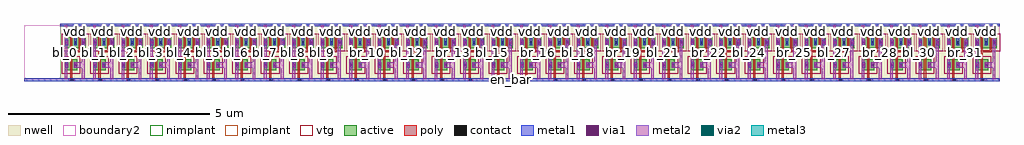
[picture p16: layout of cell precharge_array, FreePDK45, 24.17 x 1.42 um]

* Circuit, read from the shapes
.subckt precharge_array bl_0 bl_1 bl_10 bl_11 bl_12 bl_13 bl_14 bl_15 bl_16 bl_17 bl_18 bl_19 bl_2 bl_20 bl_21 bl_22 bl_23 bl_24 bl_25 bl_26 bl_27 bl_28 bl_29 bl_3 bl_30 bl_31 bl_32 bl_4 bl_5 bl_6 bl_7 bl_8 bl_9 br_0 br_1 br_10 br_11 br_12 br_13 br_14 br_15 br_16 br_17 br_18 br_19 br_2 br_20 br_21 br_22 br_23 br_24 br_25 br_26 br_27 br_28 br_29 br_3 br_30 br_31 br_32 br_4 br_5 br_6 br_7 br_8 br_9 en_bar vdd
M1 br_0 en_bar bl_0 vdd pfet w=0.27u l=0.05u
M2 vdd en_bar bl_0 vdd pfet w=0.27u l=0.05u
M3 br_0 en_bar vdd vdd pfet w=0.27u l=0.05u
M4 br_1 en_bar bl_1 vdd pfet w=0.27u l=0.05u
M5 vdd en_bar bl_1 vdd pfet w=0.27u l=0.05u
M6 br_1 en_bar vdd vdd pfet w=0.27u l=0.05u
M7 br_2 en_bar bl_2 vdd pfet w=0.27u l=0.05u
M8 vdd en_bar bl_2 vdd pfet w=0.27u l=0.05u
M9 br_2 en_bar vdd vdd pfet w=0.27u l=0.05u
M10 br_3 en_bar bl_3 vdd pfet w=0.27u l=0.05u
M11 vdd en_bar bl_3 vdd pfet w=0.27u l=0.05u
M12 br_3 en_bar vdd vdd pfet w=0.27u l=0.05u
M13 br_4 en_bar bl_4 vdd pfet w=0.27u l=0.05u
M14 vdd en_bar bl_4 vdd pfet w=0.27u l=0.05u
M15 br_4 en_bar vdd vdd pfet w=0.27u l=0.05u
M16 br_5 en_bar bl_5 vdd pfet w=0.27u l=0.05u
M17 vdd en_bar bl_5 vdd pfet w=0.27u l=0.05u
M18 br_5 en_bar vdd vdd pfet w=0.27u l=0.05u
M19 br_6 en_bar bl_6 vdd pfet w=0.27u l=0.05u
M20 vdd en_bar bl_6 vdd pfet w=0.27u l=0.05u
M21 br_6 en_bar vdd vdd pfet w=0.27u l=0.05u
M22 br_7 en_bar bl_7 vdd pfet w=0.27u l=0.05u
M23 vdd en_bar bl_7 vdd pfet w=0.27u l=0.05u
M24 br_7 en_bar vdd vdd pfet w=0.27u l=0.05u
M25 br_8 en_bar bl_8 vdd pfet w=0.27u l=0.05u
M26 vdd en_bar bl_8 vdd pfet w=0.27u l=0.05u
M27 br_8 en_bar vdd vdd pfet w=0.27u l=0.05u
M28 br_9 en_bar bl_9 vdd pfet w=0.27u l=0.05u
M29 vdd en_bar bl_9 vdd pfet w=0.27u l=0.05u
M30 br_9 en_bar vdd vdd pfet w=0.27u l=0.05u
M31 br_10 en_bar bl_10 vdd pfet w=0.27u l=0.05u
M32 vdd en_bar bl_10 vdd pfet w=0.27u l=0.05u
M33 br_10 en_bar vdd vdd pfet w=0.27u l=0.05u
M34 br_11 en_bar bl_11 vdd pfet w=0.27u l=0.05u
M35 vdd en_bar bl_11 vdd pfet w=0.27u l=0.05u
M36 br_11 en_bar vdd vdd pfet w=0.27u l=0.05u
M37 br_12 en_bar bl_12 vdd pfet w=0.27u l=0.05u
M38 vdd en_bar bl_12 vdd pfet w=0.27u l=0.05u
M39 br_12 en_bar vdd vdd pfet w=0.27u l=0.05u
M40 br_13 en_bar bl_13 vdd pfet w=0.27u l=0.05u
M41 vdd en_bar bl_13 vdd pfet w=0.27u l=0.05u
M42 br_13 en_bar vdd vdd pfet w=0.27u l=0.05u
M43 br_14 en_bar bl_14 vdd pfet w=0.27u l=0.05u
M44 vdd en_bar bl_14 vdd pfet w=0.27u l=0.05u
M45 br_14 en_bar vdd vdd pfet w=0.27u l=0.05u
M46 br_15 en_bar bl_15 vdd pfet w=0.27u l=0.05u
M47 vdd en_bar bl_15 vdd pfet w=0.27u l=0.05u
M48 br_15 en_bar vdd vdd pfet w=0.27u l=0.05u
M49 br_16 en_bar bl_16 vdd pfet w=0.27u l=0.05u
M50 vdd en_bar bl_16 vdd pfet w=0.27u l=0.05u
M51 br_16 en_bar vdd vdd pfet w=0.27u l=0.05u
M52 br_17 en_bar bl_17 vdd pfet w=0.27u l=0.05u
M53 vdd en_bar bl_17 vdd pfet w=0.27u l=0.05u
M54 br_17 en_bar vdd vdd pfet w=0.27u l=0.05u
M55 br_18 en_bar bl_18 vdd pfet w=0.27u l=0.05u
M56 vdd en_bar bl_18 vdd pfet w=0.27u l=0.05u
M57 br_18 en_bar vdd vdd pfet w=0.27u l=0.05u
M58 br_19 en_bar bl_19 vdd pfet w=0.27u l=0.05u
M59 vdd en_bar bl_19 vdd pfet w=0.27u l=0.05u
M60 br_19 en_bar vdd vdd pfet w=0.27u l=0.05u
M61 br_20 en_bar bl_20 vdd pfet w=0.27u l=0.05u
M62 vdd en_bar bl_20 vdd pfet w=0.27u l=0.05u
M63 br_20 en_bar vdd vdd pfet w=0.27u l=0.05u
M64 br_21 en_bar bl_21 vdd pfet w=0.27u l=0.05u
M65 vdd en_bar bl_21 vdd pfet w=0.27u l=0.05u
M66 br_21 en_bar vdd vdd pfet w=0.27u l=0.05u
M67 br_22 en_bar bl_22 vdd pfet w=0.27u l=0.05u
M68 vdd en_bar bl_22 vdd pfet w=0.27u l=0.05u
M69 br_22 en_bar vdd vdd pfet w=0.27u l=0.05u
M70 br_23 en_bar bl_23 vdd pfet w=0.27u l=0.05u
M71 vdd en_bar bl_23 vdd pfet w=0.27u l=0.05u
M72 br_23 en_bar vdd vdd pfet w=0.27u l=0.05u
M73 br_24 en_bar bl_24 vdd pfet w=0.27u l=0.05u
M74 vdd en_bar bl_24 vdd pfet w=0.27u l=0.05u
M75 br_24 en_bar vdd vdd pfet w=0.27u l=0.05u
M76 br_25 en_bar bl_25 vdd pfet w=0.27u l=0.05u
M77 vdd en_bar bl_25 vdd pfet w=0.27u l=0.05u
M78 br_25 en_bar vdd vdd pfet w=0.27u l=0.05u
M79 br_26 en_bar bl_26 vdd pfet w=0.27u l=0.05u
M80 vdd en_bar bl_26 vdd pfet w=0.27u l=0.05u
M81 br_26 en_bar vdd vdd pfet w=0.27u l=0.05u
M82 br_27 en_bar bl_27 vdd pfet w=0.27u l=0.05u
M83 vdd en_bar bl_27 vdd pfet w=0.27u l=0.05u
M84 br_27 en_bar vdd vdd pfet w=0.27u l=0.05u
M85 br_28 en_bar bl_28 vdd pfet w=0.27u l=0.05u
M86 vdd en_bar bl_28 vdd pfet w=0.27u l=0.05u
M87 br_28 en_bar vdd vdd pfet w=0.27u l=0.05u
M88 br_29 en_bar bl_29 vdd pfet w=0.27u l=0.05u
M89 vdd en_bar bl_29 vdd pfet w=0.27u l=0.05u
M90 br_29 en_bar vdd vdd pfet w=0.27u l=0.05u
M91 br_30 en_bar bl_30 vdd pfet w=0.27u l=0.05u
M92 vdd en_bar bl_30 vdd pfet w=0.27u l=0.05u
M93 br_30 en_bar vdd vdd pfet w=0.27u l=0.05u
M94 br_31 en_bar bl_31 vdd pfet w=0.27u l=0.05u
M95 vdd en_bar bl_31 vdd pfet w=0.27u l=0.05u
M96 br_31 en_bar vdd vdd pfet w=0.27u l=0.05u
M97 br_32 en_bar bl_32 vdd pfet w=0.27u l=0.05u
M98 vdd en_bar bl_32 vdd pfet w=0.27u l=0.05u
M99 br_32 en_bar vdd vdd pfet w=0.27u l=0.05u
.ends

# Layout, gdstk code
import gdstk
lib = gdstk.Library(unit=1e-6, precision=5e-10)
def R(c, l, rs):  # rectangles x0, y0, x1, y1
    for r in rs: c.add(gdstk.rectangle(r[:2], r[2:], *l))
def A(c, l, x, y, w, h, nx, ny, dx, dy):  # array of equal rectangles
    R(c, l, [(x+i*dx, y+j*dy, x+i*dx+w, y+j*dy+h) for i in range(nx) for j in range(ny)])
active = (1, 0)
nwell = (3, 0)
nimplant = (4, 0)
pimplant = (5, 0)
vtg = (6, 0)
poly = (9, 0)
contact = (10, 0)
metal1 = (11, 0)
via1 = (12, 0)
metal2 = (13, 0)
via2 = (14, 0)
metal3 = (15, 0)
boundary2 = (239, 0)

contact_10 = lib.new_cell('contact_10')
R(contact_10, active, [(0,0.0225,0.09,0.1125)])
R(contact_10, nwell, [(-0.055,-0.0325,0.145,0.1675)])
R(contact_10, pimplant, [(0,0.0225,0.09,0.1125)])
R(contact_10, contact, [(0.0125,0.035,0.0775,0.1)])
R(contact_10, metal1, [(0.0125,0,0.0775,0.135)])
R(contact_10, boundary2, [(-0.055,-0.0325,0.145,0.1675)])

pmos_m1_w0_270_sm1_dm1 = lib.new_cell('pmos_m1_w0_270_sm1_dm1')
R(pmos_m1_w0_270_sm1_dm1, active, [(0,0,0.305,0.27)])
R(pmos_m1_w0_270_sm1_dm1, nwell, [(-0.08,-0.08,0.385,0.35)])
R(pmos_m1_w0_270_sm1_dm1, pimplant, [(0,0,0.305,0.27)])
R(pmos_m1_w0_270_sm1_dm1, vtg, [(-0.08,-0.08,0.385,0.35)])
R(pmos_m1_w0_270_sm1_dm1, poly, [(0.1275,-0.055,0.1775,0.325), (0.1275,-0.055,0.1775,0.325)])
R(pmos_m1_w0_270_sm1_dm1, metal1, [(0.0125,0.0675,0.0775,0.2025), (0.2275,0.0675,0.2925,0.2025)])
R(pmos_m1_w0_270_sm1_dm1, boundary2, [(-0.08,-0.08,0.385,0.35)])
pmos_m1_w0_270_sm1_dm1.add(gdstk.Reference(contact_10, (0,0.0675)))
pmos_m1_w0_270_sm1_dm1.add(gdstk.Reference(contact_10, (0.215,0.0675)))
pmos_m1_w0_270_sm1_dm1.add(gdstk.Label('S', (0.045,0.135), layer=11, texttype=0))
pmos_m1_w0_270_sm1_dm1.add(gdstk.Label('D', (0.26,0.135), layer=11, texttype=0))
pmos_m1_w0_270_sm1_dm1.add(gdstk.Label('G', (0.1525,0.135), layer=9, texttype=0))

contact_13 = lib.new_cell('contact_13')
R(contact_13, poly, [(0.03,0,0.105,0.075)])
R(contact_13, contact, [(0.035,0.005,0.1,0.07)])
R(contact_13, metal1, [(0,0.005,0.135,0.07)])
R(contact_13, boundary2, [(0,0,0.135,0.075)])

contact_18 = lib.new_cell('contact_18')
R(contact_18, active, [(0.0225,0,0.1125,0.09)])
R(contact_18, nwell, [(-0.0325,-0.055,0.1675,0.145)])
R(contact_18, nimplant, [(0.0225,0,0.1125,0.09)])
R(contact_18, contact, [(0.035,0.0125,0.1,0.0775)])
R(contact_18, metal1, [(0,0.0125,0.135,0.0775)])
R(contact_18, boundary2, [(-0.0325,-0.055,0.1675,0.145)])

contact_6 = lib.new_cell('contact_6')
R(contact_6, metal1, [(0,0.035,0.135,0.1)])
R(contact_6, via1, [(0.035,0.035,0.1,0.1)])
R(contact_6, metal2, [(0.0325,0,0.1025,0.135)])
R(contact_6, boundary2, [(0,0,0.135,0.135)])

contact_19 = lib.new_cell('contact_19')
R(contact_19, metal1, [(0.0025,0,0.0675,0.135)])
R(contact_19, via1, [(0.0025,0.035,0.0675,0.1)])
R(contact_19, metal2, [(0,0,0.07,0.135)])
R(contact_19, boundary2, [(0,0,0.07,0.135)])

contact_20 = lib.new_cell('contact_20')
R(contact_20, metal2, [(0,0,0.07,0.14)])
R(contact_20, via2, [(0,0.035,0.07,0.105)])
R(contact_20, metal3, [(0,0,0.07,0.14)])
R(contact_20, boundary2, [(0,0,0.07,0.14)])

precharge_0 = lib.new_cell('precharge_0')
R(precharge_0, nwell, [(0,0,0.705,1.34)])
R(precharge_0, poly, [(0.24,-0.0375,0.29,0.0125), (0.265,-0.0375,0.29,0.0125), (0.24,-0.0125,0.29,0.165), (0.24,0.545,0.29,0.715), (0.24,0.665,0.505,0.715)])
R(precharge_0, metal1, [(0,-0.045,0.705,0.02), (0.34,0.8725,0.405,0.9375), (0.34,0.905,0.405,1.34), (0,1.3075,0.705,1.3725)])
R(precharge_0, metal2, [(0.105,0,0.175,1.34), (0.105,0,0.175,1.34), (0.53,0,0.6,1.34), (0.53,0,0.6,1.34), (0.14,0.2875,0.1575,0.4225), (0.3725,0.2875,0.565,0.4225), (0.14,0.8375,0.1575,0.9725), (0.565,0.8375,0.5875,0.9725)])
R(precharge_0, metal3, [(0.3375,1.115,0.4075,1.255)])
R(precharge_0, boundary2, [(0,0,0.705,1.34)])
precharge_0.add(gdstk.Reference(pmos_m1_w0_270_sm1_dm1, (0.1125,0.22)))
precharge_0.add(gdstk.Reference(pmos_m1_w0_270_sm1_dm1, (0.1125,0.77)))
precharge_0.add(gdstk.Reference(pmos_m1_w0_270_sm1_dm1, (0.3275,0.77)))
precharge_0.add(gdstk.Reference(contact_13, (0.2225,-0.05)))
precharge_0.add(gdstk.Reference(contact_18, (0.305,1.14)))
precharge_0.add(gdstk.Reference(contact_6, (0.305,1.1175)))
precharge_0.add(gdstk.Reference(contact_19, (0.3375,1.1175)))
precharge_0.add(gdstk.Reference(contact_20, (0.3375,1.115)))
precharge_0.add(gdstk.Reference(contact_19, (0.1225,0.2875)))
precharge_0.add(gdstk.Reference(contact_19, (0.3375,0.2875)))
precharge_0.add(gdstk.Reference(contact_19, (0.1225,0.8375)))
precharge_0.add(gdstk.Reference(contact_19, (0.5525,0.8375)))
precharge_0.add(gdstk.Label('bl', (0.14,0.67), layer=13, texttype=0))
precharge_0.add(gdstk.Label('br', (0.565,0.67), layer=13, texttype=0))
precharge_0.add(gdstk.Label('vdd', (0.3725,1.185), layer=15, texttype=0))
precharge_0.add(gdstk.Label('en_bar', (0.3525,-0.0125), layer=11, texttype=0))

precharge_array = lib.new_cell('precharge_array')
A(precharge_array, metal1, 1.22, -0.045, 0.065, 0.065, 33, 1, 0.705, 0)
R(precharge_array, metal1, [(0,-0.045,24.165,0.02)])
R(precharge_array, metal2, [(1.005,0,1.075,1.34), (1.43,0,1.5,1.34), (1.71,0,1.78,1.34), (2.135,0,2.205,1.34), (2.415,0,2.485,1.34), (2.84,0,2.91,1.34), (3.12,0,3.19,1.34), (3.545,0,3.615,1.34), (3.825,0,3.895,1.34), (4.25,0,4.32,1.34), (4.53,0,4.6,1.34), (4.955,0,5.025,1.34), (5.235,0,5.305,1.34), (5.66,0,5.73,1.34), (5.94,0,6.01,1.34), (6.365,0,6.435,1.34), (6.645,0,6.715,1.34), (7.07,0,7.14,1.34), (7.35,0,7.42,1.34), (7.775,0,7.845,1.34), (8.055,0,8.125,1.34), (8.48,0,8.55,1.34), (8.76,0,8.83,1.34), (9.185,0,9.255,1.34), (9.465,0,9.535,1.34), (9.89,0,9.96,1.34), (10.17,0,10.24,1.34), (10.595,0,10.665,1.34), (10.875,0,10.945,1.34), (11.3,0,11.37,1.34), (11.58,0,11.65,1.34), (12.005,0,12.075,1.34), (12.285,0,12.355,1.34), (12.71,0,12.78,1.34), (12.99,0,13.06,1.34), (13.415,0,13.485,1.34), (13.695,0,13.765,1.34), (14.12,0,14.19,1.34), (14.4,0,14.47,1.34), (14.825,0,14.895,1.34), (15.105,0,15.175,1.34), (15.53,0,15.6,1.34), (15.81,0,15.88,1.34), (16.235,0,16.305,1.34), (16.515,0,16.585,1.34), (16.94,0,17.01,1.34), (17.22,0,17.29,1.34), (17.645,0,17.715,1.34), (17.925,0,17.995,1.34), (18.35,0,18.42,1.34), (18.63,0,18.7,1.34), (19.055,0,19.125,1.34), (19.335,0,19.405,1.34), (19.76,0,19.83,1.34), (20.04,0,20.11,1.34), (20.465,0,20.535,1.34), (20.745,0,20.815,1.34), (21.17,0,21.24,1.34), (21.45,0,21.52,1.34), (21.875,0,21.945,1.34), (22.155,0,22.225,1.34), (22.58,0,22.65,1.34), (22.86,0,22.93,1.34), (23.285,0,23.355,1.34), (23.565,0,23.635,1.34), (23.99,0,24.06,1.34)])
A(precharge_array, metal3, 1.2375, 1.115, 0.07, 0.14, 33, 1, 0.705, 0)
R(precharge_array, boundary2, [(0,0,24.165,1.34)])
precharge_array.add(gdstk.Reference(precharge_0, (0.9,0)))
precharge_array.add(gdstk.Reference(precharge_0, (1.605,0)))
precharge_array.add(gdstk.Reference(precharge_0, (2.31,0)))
precharge_array.add(gdstk.Reference(precharge_0, (3.015,0)))
precharge_array.add(gdstk.Reference(precharge_0, (3.72,0)))
precharge_array.add(gdstk.Reference(precharge_0, (4.425,0)))
precharge_array.add(gdstk.Reference(precharge_0, (5.13,0)))
precharge_array.add(gdstk.Reference(precharge_0, (5.835,0)))
precharge_array.add(gdstk.Reference(precharge_0, (6.54,0)))
precharge_array.add(gdstk.Reference(precharge_0, (7.245,0)))
precharge_array.add(gdstk.Reference(precharge_0, (7.95,0)))
precharge_array.add(gdstk.Reference(precharge_0, (8.655,0)))
precharge_array.add(gdstk.Reference(precharge_0, (9.36,0)))
precharge_array.add(gdstk.Reference(precharge_0, (10.065,0)))
precharge_array.add(gdstk.Reference(precharge_0, (10.77,0)))
precharge_array.add(gdstk.Reference(precharge_0, (11.475,0)))
precharge_array.add(gdstk.Reference(precharge_0, (12.18,0)))
precharge_array.add(gdstk.Reference(precharge_0, (12.885,0)))
precharge_array.add(gdstk.Reference(precharge_0, (13.59,0)))
precharge_array.add(gdstk.Reference(precharge_0, (14.295,0)))
precharge_array.add(gdstk.Reference(precharge_0, (15,0)))
precharge_array.add(gdstk.Reference(precharge_0, (15.705,0)))
precharge_array.add(gdstk.Reference(precharge_0, (16.41,0)))
precharge_array.add(gdstk.Reference(precharge_0, (17.115,0)))
precharge_array.add(gdstk.Reference(precharge_0, (17.82,0)))
precharge_array.add(gdstk.Reference(precharge_0, (18.525,0)))
precharge_array.add(gdstk.Reference(precharge_0, (19.23,0)))
precharge_array.add(gdstk.Reference(precharge_0, (19.935,0)))
precharge_array.add(gdstk.Reference(precharge_0, (20.64,0)))
precharge_array.add(gdstk.Reference(precharge_0, (21.345,0)))
precharge_array.add(gdstk.Reference(precharge_0, (22.05,0)))
precharge_array.add(gdstk.Reference(precharge_0, (22.755,0)))
precharge_array.add(gdstk.Reference(precharge_0, (23.46,0)))
precharge_array.add(gdstk.Label('bl_0', (1.04,0.67), layer=13, texttype=0))
precharge_array.add(gdstk.Label('br_0', (1.465,0.67), layer=13, texttype=0))
precharge_array.add(gdstk.Label('bl_1', (1.745,0.67), layer=13, texttype=0))
precharge_array.add(gdstk.Label('br_1', (2.17,0.67), layer=13, texttype=0))
precharge_array.add(gdstk.Label('bl_2', (2.45,0.67), layer=13, texttype=0))
precharge_array.add(gdstk.Label('br_2', (2.875,0.67), layer=13, texttype=0))
precharge_array.add(gdstk.Label('bl_3', (3.155,0.67), layer=13, texttype=0))
precharge_array.add(gdstk.Label('br_3', (3.58,0.67), layer=13, texttype=0))
precharge_array.add(gdstk.Label('bl_4', (3.86,0.67), layer=13, texttype=0))
precharge_array.add(gdstk.Label('br_4', (4.285,0.67), layer=13, texttype=0))
precharge_array.add(gdstk.Label('bl_5', (4.565,0.67), layer=13, texttype=0))
precharge_array.add(gdstk.Label('br_5', (4.99,0.67), layer=13, texttype=0))
precharge_array.add(gdstk.Label('bl_6', (5.27,0.67), layer=13, texttype=0))
precharge_array.add(gdstk.Label('br_6', (5.695,0.67), layer=13, texttype=0))
precharge_array.add(gdstk.Label('bl_7', (5.975,0.67), layer=13, texttype=0))
precharge_array.add(gdstk.Label('br_7', (6.4,0.67), layer=13, texttype=0))
precharge_array.add(gdstk.Label('bl_8', (6.68,0.67), layer=13, texttype=0))
precharge_array.add(gdstk.Label('br_8', (7.105,0.67), layer=13, texttype=0))
precharge_array.add(gdstk.Label('bl_9', (7.385,0.67), layer=13, texttype=0))
precharge_array.add(gdstk.Label('br_9', (7.81,0.67), layer=13, texttype=0))
precharge_array.add(gdstk.Label('bl_10', (8.09,0.67), layer=13, texttype=0))
precharge_array.add(gdstk.Label('br_10', (8.515,0.67), layer=13, texttype=0))
precharge_array.add(gdstk.Label('bl_11', (8.795,0.67), layer=13, texttype=0))
precharge_array.add(gdstk.Label('br_11', (9.22,0.67), layer=13, texttype=0))
precharge_array.add(gdstk.Label('bl_12', (9.5,0.67), layer=13, texttype=0))
precharge_array.add(gdstk.Label('br_12', (9.925,0.67), layer=13, texttype=0))
precharge_array.add(gdstk.Label('bl_13', (10.205,0.67), layer=13, texttype=0))
precharge_array.add(gdstk.Label('br_13', (10.63,0.67), layer=13, texttype=0))
precharge_array.add(gdstk.Label('bl_14', (10.91,0.67), layer=13, texttype=0))
precharge_array.add(gdstk.Label('br_14', (11.335,0.67), layer=13, texttype=0))
precharge_array.add(gdstk.Label('bl_15', (11.615,0.67), layer=13, texttype=0))
precharge_array.add(gdstk.Label('br_15', (12.04,0.67), layer=13, texttype=0))
precharge_array.add(gdstk.Label('bl_16', (12.32,0.67), layer=13, texttype=0))
precharge_array.add(gdstk.Label('br_16', (12.745,0.67), layer=13, texttype=0))
precharge_array.add(gdstk.Label('bl_17', (13.025,0.67), layer=13, texttype=0))
precharge_array.add(gdstk.Label('br_17', (13.45,0.67), layer=13, texttype=0))
precharge_array.add(gdstk.Label('bl_18', (13.73,0.67), layer=13, texttype=0))
precharge_array.add(gdstk.Label('br_18', (14.155,0.67), layer=13, texttype=0))
precharge_array.add(gdstk.Label('bl_19', (14.435,0.67), layer=13, texttype=0))
precharge_array.add(gdstk.Label('br_19', (14.86,0.67), layer=13, texttype=0))
precharge_array.add(gdstk.Label('bl_20', (15.14,0.67), layer=13, texttype=0))
precharge_array.add(gdstk.Label('br_20', (15.565,0.67), layer=13, texttype=0))
precharge_array.add(gdstk.Label('bl_21', (15.845,0.67), layer=13, texttype=0))
precharge_array.add(gdstk.Label('br_21', (16.27,0.67), layer=13, texttype=0))
precharge_array.add(gdstk.Label('bl_22', (16.55,0.67), layer=13, texttype=0))
precharge_array.add(gdstk.Label('br_22', (16.975,0.67), layer=13, texttype=0))
precharge_array.add(gdstk.Label('bl_23', (17.255,0.67), layer=13, texttype=0))
precharge_array.add(gdstk.Label('br_23', (17.68,0.67), layer=13, texttype=0))
precharge_array.add(gdstk.Label('bl_24', (17.96,0.67), layer=13, texttype=0))
precharge_array.add(gdstk.Label('br_24', (18.385,0.67), layer=13, texttype=0))
precharge_array.add(gdstk.Label('bl_25', (18.665,0.67), layer=13, texttype=0))
precharge_array.add(gdstk.Label('br_25', (19.09,0.67), layer=13, texttype=0))
precharge_array.add(gdstk.Label('bl_26', (19.37,0.67), layer=13, texttype=0))
precharge_array.add(gdstk.Label('br_26', (19.795,0.67), layer=13, texttype=0))
precharge_array.add(gdstk.Label('bl_27', (20.075,0.67), layer=13, texttype=0))
precharge_array.add(gdstk.Label('br_27', (20.5,0.67), layer=13, texttype=0))
precharge_array.add(gdstk.Label('bl_28', (20.78,0.67), layer=13, texttype=0))
precharge_array.add(gdstk.Label('br_28', (21.205,0.67), layer=13, texttype=0))
precharge_array.add(gdstk.Label('bl_29', (21.485,0.67), layer=13, texttype=0))
precharge_array.add(gdstk.Label('br_29', (21.91,0.67), layer=13, texttype=0))
precharge_array.add(gdstk.Label('bl_30', (22.19,0.67), layer=13, texttype=0))
precharge_array.add(gdstk.Label('br_30', (22.615,0.67), layer=13, texttype=0))
precharge_array.add(gdstk.Label('bl_31', (22.895,0.67), layer=13, texttype=0))
precharge_array.add(gdstk.Label('br_31', (23.32,0.67), layer=13, texttype=0))
precharge_array.add(gdstk.Label('bl_32', (23.6,0.67), layer=13, texttype=0))
precharge_array.add(gdstk.Label('br_32', (24.025,0.67), layer=13, texttype=0))
precharge_array.add(gdstk.Label('vdd', (16.7825,1.185), layer=15, texttype=0))
precharge_array.add(gdstk.Label('vdd', (1.2725,1.185), layer=15, texttype=0))
precharge_array.add(gdstk.Label('vdd', (17.4875,1.185), layer=15, texttype=0))
precharge_array.add(gdstk.Label('vdd', (1.9775,1.185), layer=15, texttype=0))
precharge_array.add(gdstk.Label('vdd', (4.7975,1.185), layer=15, texttype=0))
precharge_array.add(gdstk.Label('vdd', (21.7175,1.185), layer=15, texttype=0))
precharge_array.add(gdstk.Label('vdd', (4.0925,1.185), layer=15, texttype=0))
precharge_array.add(gdstk.Label('vdd', (11.8475,1.185), layer=15, texttype=0))
precharge_array.add(gdstk.Label('vdd', (10.4375,1.185), layer=15, texttype=0))
precharge_array.add(gdstk.Label('vdd', (16.0775,1.185), layer=15, texttype=0))
precharge_array.add(gdstk.Label('vdd', (6.2075,1.185), layer=15, texttype=0))
precharge_array.add(gdstk.Label('vdd', (3.3875,1.185), layer=15, texttype=0))
precharge_array.add(gdstk.Label('vdd', (12.5525,1.185), layer=15, texttype=0))
precharge_array.add(gdstk.Label('vdd', (5.5025,1.185), layer=15, texttype=0))
precharge_array.add(gdstk.Label('vdd', (20.3075,1.185), layer=15, texttype=0))
precharge_array.add(gdstk.Label('vdd', (14.6675,1.185), layer=15, texttype=0))
precharge_array.add(gdstk.Label('vdd', (23.8325,1.185), layer=15, texttype=0))
precharge_array.add(gdstk.Label('vdd', (9.7325,1.185), layer=15, texttype=0))
precharge_array.add(gdstk.Label('vdd', (21.0125,1.185), layer=15, texttype=0))
precharge_array.add(gdstk.Label('vdd', (19.6025,1.185), layer=15, texttype=0))
precharge_array.add(gdstk.Label('vdd', (13.9625,1.185), layer=15, texttype=0))
precharge_array.add(gdstk.Label('vdd', (13.2575,1.185), layer=15, texttype=0))
precharge_array.add(gdstk.Label('vdd', (9.0275,1.185), layer=15, texttype=0))
precharge_array.add(gdstk.Label('vdd', (15.3725,1.185), layer=15, texttype=0))
precharge_array.add(gdstk.Label('vdd', (7.6175,1.185), layer=15, texttype=0))
precharge_array.add(gdstk.Label('vdd', (18.8975,1.185), layer=15, texttype=0))
precharge_array.add(gdstk.Label('vdd', (2.6825,1.185), layer=15, texttype=0))
precharge_array.add(gdstk.Label('vdd', (11.1425,1.185), layer=15, texttype=0))
precharge_array.add(gdstk.Label('vdd', (18.1925,1.185), layer=15, texttype=0))
precharge_array.add(gdstk.Label('vdd', (8.3225,1.185), layer=15, texttype=0))
precharge_array.add(gdstk.Label('vdd', (23.1275,1.185), layer=15, texttype=0))
precharge_array.add(gdstk.Label('vdd', (22.4225,1.185), layer=15, texttype=0))
precharge_array.add(gdstk.Label('vdd', (6.9125,1.185), layer=15, texttype=0))
precharge_array.add(gdstk.Label('en_bar', (12.0825,-0.0125), layer=11, texttype=0))

lib.write_gds('precharge_array.gds')
